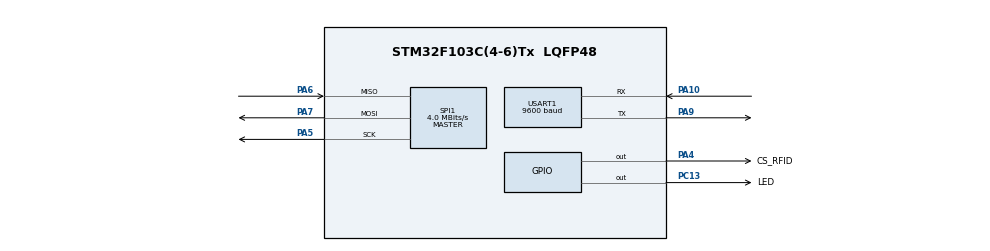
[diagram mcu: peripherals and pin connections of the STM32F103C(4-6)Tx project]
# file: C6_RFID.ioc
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Mcu.Family=STM32F1
Mcu.Name=STM32F103C(4-6)Tx
Mcu.Package=LQFP48
NVIC.PriorityGroup=NVIC_PRIORITYGROUP_4
PA10.Mode=Asynchronous
PA10.Signal=USART1_RX
PA13.Mode=Serial_Wire
PA13.Signal=SYS_JTMS-SWDIO
PA14.Mode=Serial_Wire
PA14.Signal=SYS_JTCK-SWCLK
PA4.GPIO_Label=CS_RFID
PA4.Signal=GPIO_Output
PA5.Mode=Full_Duplex_Master
PA5.Signal=SPI1_SCK
PA6.Mode=Full_Duplex_Master
PA6.Signal=SPI1_MISO
PA7.Mode=Full_Duplex_Master
PA7.Signal=SPI1_MOSI
PA9.Mode=Asynchronous
PA9.Signal=USART1_TX
PC13-TAMPER-RTC.GPIO_Label=LED
PC13-TAMPER-RTC.Signal=GPIO_Output
PD0-OSC_IN.Mode=HSE-External-Oscillator
PD0-OSC_IN.Signal=RCC_OSC_IN
PD1-OSC_OUT.Mode=HSE-External-Oscillator
PD1-OSC_OUT.Signal=RCC_OSC_OUT
ProjectManager.HeapSize=0x200
ProjectManager.StackSize=0x400
ProjectManager.TargetToolchain=STM32CubeIDE
RCC.APB1Freq_Value=8000000
RCC.APB2Freq_Value=8000000
SPI1.CalculateBaudRate=4.0 MBits/s
SPI1.Direction=SPI_DIRECTION_2LINES
SPI1.Mode=SPI_MODE_MASTER
SPI1.VirtualType=VM_MASTER
USART1.BaudRate=9600
USART1.VirtualMode=VM_ASYNC
board=custom

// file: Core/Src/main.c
/* USER CODE BEGIN Header */
/**
 ******************************************************************************
 * @file           : main.c
 * @brief          : Main program body
 ******************************************************************************
 * @attention
 *
 * Copyright (c) 2023 STMicroelectronics.
 * All rights reserved.
 *
 * This software is licensed under terms that can be found in the LICENSE file
 * in the root directory of this software component.
 * If no LICENSE file comes with this software, it is provided AS-IS.
 *
 ******************************************************************************
 */
/* USER CODE END Header */
#include "main.h"

/* USER CODE BEGIN Includes */
#include "rc522.h"
#include "string.h"
#include "stdio.h"
/* USER CODE END Includes */

SPI_HandleTypeDef hspi1;

UART_HandleTypeDef huart1;

/* USER CODE BEGIN PV */

uint8_t CardID[5];
uint8_t MyID[5] = { 0x43, 0xdc, 0x52, 0xb6, 0x7b };
uint8_t Status = 0;
char szBuff[100];

/* USER CODE END PV */

void SystemClock_Config(void);
static void MX_GPIO_Init(void);
static void MX_SPI1_Init(void);
static void MX_USART1_UART_Init(void);

int main(void) {

	/* MCU Configuration--------------------------------------------------------*/

	/* Reset of all peripherals, Initializes the Flash interface and the Systick. */
	HAL_Init();

	/* Configure the system clock */
	SystemClock_Config();

	/* Initialize all configured peripherals */
	MX_GPIO_Init();
	MX_SPI1_Init();
	MX_USART1_UART_Init();
	/* USER CODE BEGIN 2 */
	TM_MFRC522_Init();
	HAL_GPIO_WritePin(LED_GPIO_Port, LED_Pin, 1);
	/* USER CODE END 2 */

	/* Infinite loop */
	/* USER CODE BEGIN WHILE */
	while (1) {
		static uint32_t t_prev = 0;
		if (TM_MFRC522_Check(CardID) == MI_OK) {
			sprintf(szBuff, "ID: 0x%02X%02X%02X%02X%02X", CardID[0], CardID[1], CardID[2], CardID[3], CardID[4]);
		}
		if (HAL_GetTick() - t_prev >= 500) {
			t_prev = HAL_GetTick();
			HAL_UART_Transmit(&huart1, (uint8_t*)szBuff, strlen((char*)szBuff), 1000);
		}
		/* USER CODE END WHILE */

	}
}

void SystemClock_Config(void) {
	RCC_OscInitTypeDef RCC_OscInitStruct = { 0 };
	RCC_ClkInitTypeDef RCC_ClkInitStruct = { 0 };

	/** Initializes the RCC Oscillators according to the specified parameters
	 * in the RCC_OscInitTypeDef structure.
	 */
	RCC_OscInitStruct.OscillatorType = RCC_OSCILLATORTYPE_HSI;
	RCC_OscInitStruct.HSIState = RCC_HSI_ON;
	RCC_OscInitStruct.HSICalibrationValue = RCC_HSICALIBRATION_DEFAULT;
	RCC_OscInitStruct.PLL.PLLState = RCC_PLL_NONE;
	if (HAL_RCC_OscConfig(&RCC_OscInitStruct) != HAL_OK) {
		Error_Handler();
	}

	/** Initializes the CPU, AHB and APB buses clocks
	 */
	RCC_ClkInitStruct.ClockType = RCC_CLOCKTYPE_HCLK | RCC_CLOCKTYPE_SYSCLK
			| RCC_CLOCKTYPE_PCLK1 | RCC_CLOCKTYPE_PCLK2;
	RCC_ClkInitStruct.SYSCLKSource = RCC_SYSCLKSOURCE_HSI;
	RCC_ClkInitStruct.AHBCLKDivider = RCC_SYSCLK_DIV1;
	RCC_ClkInitStruct.APB1CLKDivider = RCC_HCLK_DIV1;
	RCC_ClkInitStruct.APB2CLKDivider = RCC_HCLK_DIV1;

	if (HAL_RCC_ClockConfig(&RCC_ClkInitStruct, FLASH_LATENCY_0) != HAL_OK) {
		Error_Handler();
	}
}

static void MX_SPI1_Init(void) {

	/* SPI1 parameter configuration*/
	hspi1.Instance = SPI1;
	hspi1.Init.Mode = SPI_MODE_MASTER;
	hspi1.Init.Direction = SPI_DIRECTION_2LINES;
	hspi1.Init.DataSize = SPI_DATASIZE_8BIT;
	hspi1.Init.CLKPolarity = SPI_POLARITY_LOW;
	hspi1.Init.CLKPhase = SPI_PHASE_1EDGE;
	hspi1.Init.NSS = SPI_NSS_SOFT;
	hspi1.Init.BaudRatePrescaler = SPI_BAUDRATEPRESCALER_2;
	hspi1.Init.FirstBit = SPI_FIRSTBIT_MSB;
	hspi1.Init.TIMode = SPI_TIMODE_DISABLE;
	hspi1.Init.CRCCalculation = SPI_CRCCALCULATION_DISABLE;
	hspi1.Init.CRCPolynomial = 10;
	if (HAL_SPI_Init(&hspi1) != HAL_OK) {
		Error_Handler();
	}

}

static void MX_USART1_UART_Init(void) {

	huart1.Instance = USART1;
	huart1.Init.BaudRate = 9600;
	huart1.Init.WordLength = UART_WORDLENGTH_8B;
	huart1.Init.StopBits = UART_STOPBITS_1;
	huart1.Init.Parity = UART_PARITY_NONE;
	huart1.Init.Mode = UART_MODE_TX_RX;
	huart1.Init.HwFlowCtl = UART_HWCONTROL_NONE;
	huart1.Init.OverSampling = UART_OVERSAMPLING_16;
	if (HAL_UART_Init(&huart1) != HAL_OK) {
		Error_Handler();
	}

}

static void MX_GPIO_Init(void) {
	GPIO_InitTypeDef GPIO_InitStruct = { 0 };

	/* GPIO Ports Clock Enable */
	__HAL_RCC_GPIOC_CLK_ENABLE();
	__HAL_RCC_GPIOD_CLK_ENABLE();
	__HAL_RCC_GPIOA_CLK_ENABLE();

	/*Configure GPIO pin Output Level */
	HAL_GPIO_WritePin(LED_GPIO_Port, LED_Pin, GPIO_PIN_RESET);

	/*Configure GPIO pin Output Level */
	HAL_GPIO_WritePin(CS_RFID_GPIO_Port, CS_RFID_Pin, GPIO_PIN_RESET);

	/*Configure GPIO pin : LED_Pin */
	GPIO_InitStruct.Pin = LED_Pin;
	GPIO_InitStruct.Mode = GPIO_MODE_OUTPUT_PP;
	GPIO_InitStruct.Pull = GPIO_NOPULL;
	GPIO_InitStruct.Speed = GPIO_SPEED_FREQ_LOW;
	HAL_GPIO_Init(LED_GPIO_Port, &GPIO_InitStruct);

	/*Configure GPIO pin : CS_RFID_Pin */
	GPIO_InitStruct.Pin = CS_RFID_Pin;
	GPIO_InitStruct.Mode = GPIO_MODE_OUTPUT_PP;
	GPIO_InitStruct.Pull = GPIO_NOPULL;
	GPIO_InitStruct.Speed = GPIO_SPEED_FREQ_LOW;
	HAL_GPIO_Init(CS_RFID_GPIO_Port, &GPIO_InitStruct);

}

void Error_Handler(void) {
	__disable_irq();
	while (1) {
	}
}
